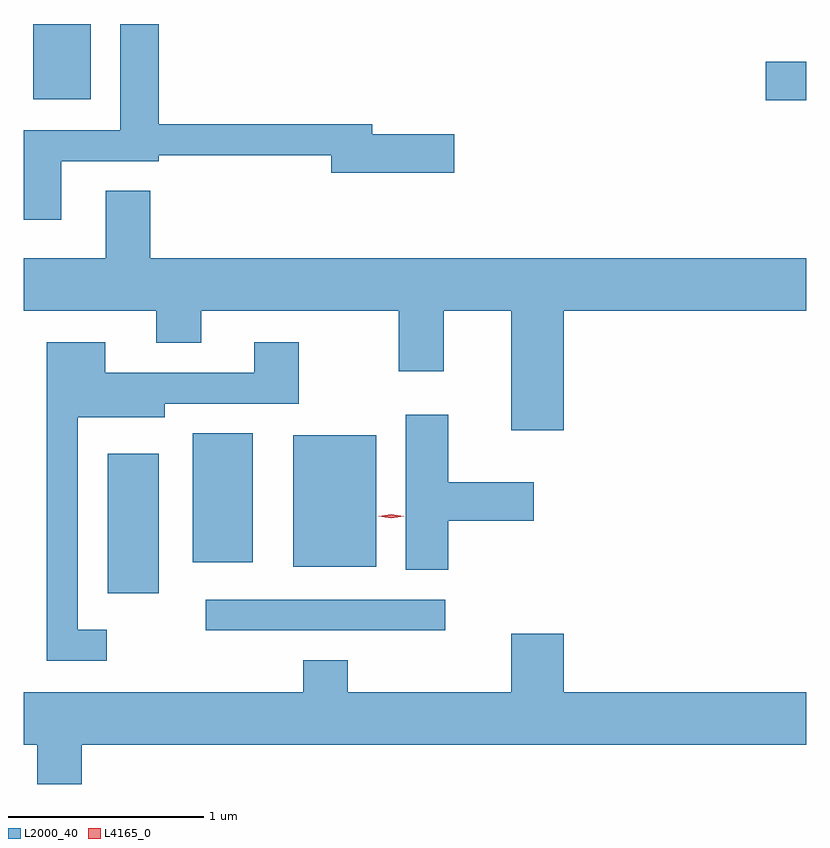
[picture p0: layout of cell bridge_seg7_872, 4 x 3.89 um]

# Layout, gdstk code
import gdstk
lib = gdstk.Library(unit=1e-6, precision=1e-09)
def R(c, l, rs):  # rectangles x0, y0, x1, y1
    for r in rs: c.add(gdstk.rectangle(r[:2], r[2:], *l))
def P(c, l, *ps):  # polygons
    for p in ps: c.add(gdstk.Polygon(p, *l))
L2000_40 = (2000, 40)
L4165_0 = (4165, 0)

bridge_seg7_872 = lib.new_cell('bridge_seg7_872')
R(bridge_seg7_872, L2000_40, [(533.193,1694.921,534.418,1695.079), (532.691,1695.111,532.954,1695.824), (533.641,1695.246,534.064,1695.919), (533.126,1695.271,533.434,1695.929), (536.056,1697.631,536.263,1697.829), (532.311,1697.636,532.604,1698.022)])
P(bridge_seg7_872, L2000_40, [(532.454,1697.321),(532.954,1697.321),(532.954,1697.351),(533.836,1697.351),(533.836,1697.261),(534.464,1697.261),(534.464,1697.459),(534.044,1697.459),(534.044,1697.509),(532.954,1697.509),(532.954,1698.022),(532.756,1698.022),(532.756,1697.479),(532.263,1697.479),(532.263,1697.021),(532.454,1697.021)],
  [(535.024,1696.556),(536.263,1696.556),(536.263,1696.824),(532.909,1696.824),(532.909,1697.169),(532.681,1697.169),(532.681,1696.824),(532.263,1696.824),(532.263,1696.556),(532.941,1696.556),(532.941,1696.391),(533.169,1696.391),(533.169,1696.556),(534.181,1696.556),(534.181,1696.246),(534.409,1696.246),(534.409,1696.556),(534.756,1696.556),(534.756,1695.946),(535.024,1695.946)],
  [(532.688,1694.924),(532.539,1694.924),(532.539,1696.011),(532.984,1696.011),(532.984,1696.081),(533.669,1696.081),(533.669,1696.394),(533.441,1696.394),(533.441,1696.239),(532.679,1696.239),(532.679,1696.394),(532.381,1696.394),(532.381,1694.766),(532.688,1694.766)],
  [(534.434,1695.481),(534.869,1695.481),(534.869,1695.679),(534.434,1695.679),(534.434,1696.024),(534.216,1696.024),(534.216,1695.231),(534.434,1695.231)],
  [(532.559,1694.336),(536.263,1694.336),(536.263,1694.604),(535.024,1694.604),(535.024,1694.904),(534.756,1694.904),(534.756,1694.604),(533.919,1694.604),(533.919,1694.769),(533.691,1694.769),(533.691,1694.604),(532.263,1694.604),(532.263,1694.336),(532.331,1694.336),(532.331,1694.136),(532.559,1694.136)])
P(bridge_seg7_872, L4165_0, [(534.142,1695.495),(534.076,1695.505),(534.075,1695.505),(534.076,1695.506),(534.142,1695.515),(534.208,1695.506),(534.209,1695.505),(534.208,1695.505)])

lib.write_gds('bridge_seg7_872.gds')
